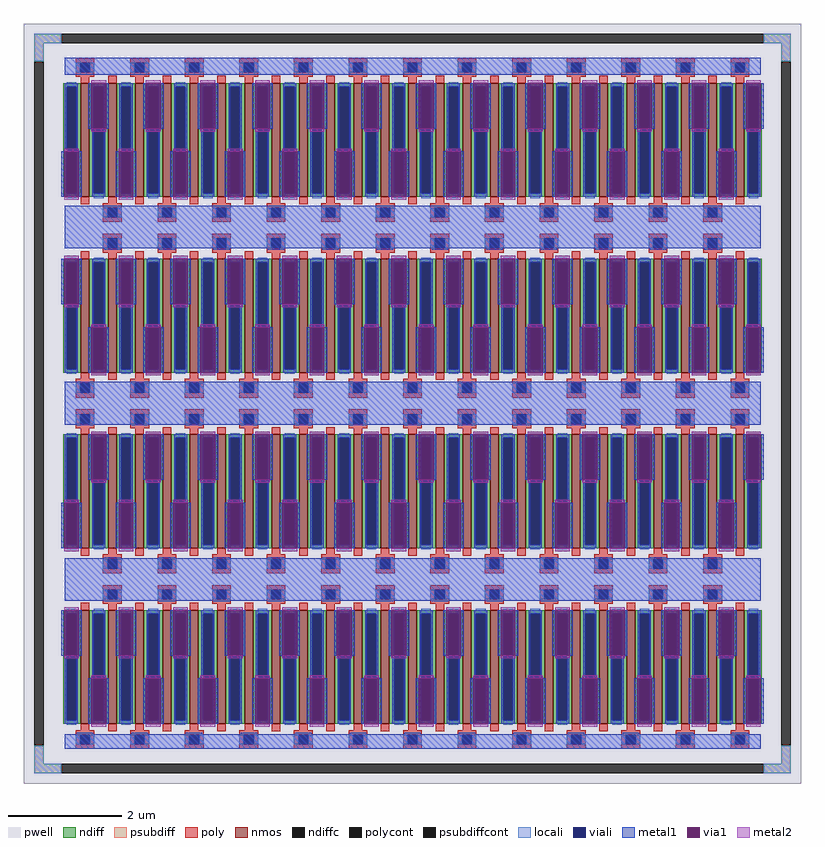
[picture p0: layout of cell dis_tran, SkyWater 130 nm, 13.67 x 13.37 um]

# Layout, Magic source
magic
tech sky130A
magscale 1 2
<< metal1 >>
rect 90 2440 2540 2500
rect 174 2251 184 2411
rect 236 2251 246 2411
rect 366 2251 376 2411
rect 428 2251 438 2411
rect 558 2251 568 2411
rect 620 2251 630 2411
rect 750 2251 760 2411
rect 812 2251 822 2411
rect 942 2251 952 2411
rect 1004 2251 1014 2411
rect 1134 2251 1144 2411
rect 1196 2251 1206 2411
rect 1326 2251 1336 2411
rect 1388 2251 1398 2411
rect 1518 2251 1528 2411
rect 1580 2251 1590 2411
rect 1710 2251 1720 2411
rect 1772 2251 1782 2411
rect 1902 2251 1912 2411
rect 1964 2251 1974 2411
rect 2094 2251 2104 2411
rect 2156 2251 2166 2411
rect 2286 2251 2296 2411
rect 2348 2251 2358 2411
rect 2478 2251 2488 2411
rect 2540 2251 2550 2411
rect 78 2011 88 2171
rect 140 2011 150 2171
rect 270 2011 280 2171
rect 332 2011 342 2171
rect 462 2011 472 2171
rect 524 2011 534 2171
rect 654 2011 664 2171
rect 716 2011 726 2171
rect 846 2011 856 2171
rect 908 2011 918 2171
rect 1038 2011 1048 2171
rect 1100 2011 1110 2171
rect 1230 2011 1240 2171
rect 1292 2011 1302 2171
rect 1422 2011 1432 2171
rect 1484 2011 1494 2171
rect 1614 2011 1624 2171
rect 1676 2011 1686 2171
rect 1806 2011 1816 2171
rect 1868 2011 1878 2171
rect 1998 2011 2008 2171
rect 2060 2011 2070 2171
rect 2190 2011 2200 2171
rect 2252 2011 2262 2171
rect 2382 2011 2392 2171
rect 2444 2011 2454 2171
rect 90 1830 2540 1980
rect 78 1633 88 1793
rect 140 1633 150 1793
rect 270 1633 280 1793
rect 332 1633 342 1793
rect 462 1633 472 1793
rect 524 1633 534 1793
rect 654 1633 664 1793
rect 716 1633 726 1793
rect 846 1633 856 1793
rect 908 1633 918 1793
rect 1038 1633 1048 1793
rect 1100 1633 1110 1793
rect 1230 1633 1240 1793
rect 1292 1633 1302 1793
rect 1422 1633 1432 1793
rect 1484 1633 1494 1793
rect 1614 1633 1624 1793
rect 1676 1633 1686 1793
rect 1806 1633 1816 1793
rect 1868 1633 1878 1793
rect 1998 1633 2008 1793
rect 2060 1633 2070 1793
rect 2190 1633 2200 1793
rect 2252 1633 2262 1793
rect 2382 1633 2392 1793
rect 2444 1633 2454 1793
rect 174 1393 184 1553
rect 236 1393 246 1553
rect 366 1393 376 1553
rect 428 1393 438 1553
rect 558 1393 568 1553
rect 620 1393 630 1553
rect 750 1393 760 1553
rect 812 1393 822 1553
rect 942 1393 952 1553
rect 1004 1393 1014 1553
rect 1134 1393 1144 1553
rect 1196 1393 1206 1553
rect 1326 1393 1336 1553
rect 1388 1393 1398 1553
rect 1518 1393 1528 1553
rect 1580 1393 1590 1553
rect 1710 1393 1720 1553
rect 1772 1393 1782 1553
rect 1902 1393 1912 1553
rect 1964 1393 1974 1553
rect 2094 1393 2104 1553
rect 2156 1393 2166 1553
rect 2286 1393 2296 1553
rect 2348 1393 2358 1553
rect 2478 1393 2488 1553
rect 2540 1393 2550 1553
rect 90 1210 2540 1360
rect 174 1015 184 1175
rect 236 1015 246 1175
rect 366 1015 376 1175
rect 428 1015 438 1175
rect 558 1015 568 1175
rect 620 1015 630 1175
rect 750 1015 760 1175
rect 812 1015 822 1175
rect 942 1015 952 1175
rect 1004 1015 1014 1175
rect 1134 1015 1144 1175
rect 1196 1015 1206 1175
rect 1326 1015 1336 1175
rect 1388 1015 1398 1175
rect 1518 1015 1528 1175
rect 1580 1015 1590 1175
rect 1710 1015 1720 1175
rect 1772 1015 1782 1175
rect 1902 1015 1912 1175
rect 1964 1015 1974 1175
rect 2094 1015 2104 1175
rect 2156 1015 2166 1175
rect 2286 1015 2296 1175
rect 2348 1015 2358 1175
rect 2478 1015 2488 1175
rect 2540 1015 2550 1175
rect 78 775 88 935
rect 140 775 150 935
rect 270 775 280 935
rect 332 775 342 935
rect 462 775 472 935
rect 524 775 534 935
rect 654 775 664 935
rect 716 775 726 935
rect 846 775 856 935
rect 908 775 918 935
rect 1038 775 1048 935
rect 1100 775 1110 935
rect 1230 775 1240 935
rect 1292 775 1302 935
rect 1422 775 1432 935
rect 1484 775 1494 935
rect 1614 775 1624 935
rect 1676 775 1686 935
rect 1806 775 1816 935
rect 1868 775 1878 935
rect 1998 775 2008 935
rect 2060 775 2070 935
rect 2190 775 2200 935
rect 2252 775 2262 935
rect 2382 775 2392 935
rect 2444 775 2454 935
rect 90 590 2540 740
rect 78 397 88 557
rect 140 397 150 557
rect 270 397 280 557
rect 332 397 342 557
rect 462 397 472 557
rect 524 397 534 557
rect 654 397 664 557
rect 716 397 726 557
rect 846 397 856 557
rect 908 397 918 557
rect 1038 397 1048 557
rect 1100 397 1110 557
rect 1230 397 1240 557
rect 1292 397 1302 557
rect 1422 397 1432 557
rect 1484 397 1494 557
rect 1614 397 1624 557
rect 1676 397 1686 557
rect 1806 397 1816 557
rect 1868 397 1878 557
rect 1998 397 2008 557
rect 2060 397 2070 557
rect 2190 397 2200 557
rect 2252 397 2262 557
rect 2382 397 2392 557
rect 2444 397 2454 557
rect 174 157 184 317
rect 236 157 246 317
rect 366 157 376 317
rect 428 157 438 317
rect 558 157 568 317
rect 620 157 630 317
rect 750 157 760 317
rect 812 157 822 317
rect 942 157 952 317
rect 1004 157 1014 317
rect 1134 157 1144 317
rect 1196 157 1206 317
rect 1326 157 1336 317
rect 1388 157 1398 317
rect 1518 157 1528 317
rect 1580 157 1590 317
rect 1710 157 1720 317
rect 1772 157 1782 317
rect 1902 157 1912 317
rect 1964 157 1974 317
rect 2094 157 2104 317
rect 2156 157 2166 317
rect 2286 157 2296 317
rect 2348 157 2358 317
rect 2478 157 2488 317
rect 2540 157 2550 317
rect 90 70 2540 120
<< via1 >>
rect 184 2251 236 2411
rect 376 2251 428 2411
rect 568 2251 620 2411
rect 760 2251 812 2411
rect 952 2251 1004 2411
rect 1144 2251 1196 2411
rect 1336 2251 1388 2411
rect 1528 2251 1580 2411
rect 1720 2251 1772 2411
rect 1912 2251 1964 2411
rect 2104 2251 2156 2411
rect 2296 2251 2348 2411
rect 2488 2251 2540 2411
rect 88 2011 140 2171
rect 280 2011 332 2171
rect 472 2011 524 2171
rect 664 2011 716 2171
rect 856 2011 908 2171
rect 1048 2011 1100 2171
rect 1240 2011 1292 2171
rect 1432 2011 1484 2171
rect 1624 2011 1676 2171
rect 1816 2011 1868 2171
rect 2008 2011 2060 2171
rect 2200 2011 2252 2171
rect 2392 2011 2444 2171
rect 88 1633 140 1793
rect 280 1633 332 1793
rect 472 1633 524 1793
rect 664 1633 716 1793
rect 856 1633 908 1793
rect 1048 1633 1100 1793
rect 1240 1633 1292 1793
rect 1432 1633 1484 1793
rect 1624 1633 1676 1793
rect 1816 1633 1868 1793
rect 2008 1633 2060 1793
rect 2200 1633 2252 1793
rect 2392 1633 2444 1793
rect 184 1393 236 1553
rect 376 1393 428 1553
rect 568 1393 620 1553
rect 760 1393 812 1553
rect 952 1393 1004 1553
rect 1144 1393 1196 1553
rect 1336 1393 1388 1553
rect 1528 1393 1580 1553
rect 1720 1393 1772 1553
rect 1912 1393 1964 1553
rect 2104 1393 2156 1553
rect 2296 1393 2348 1553
rect 2488 1393 2540 1553
rect 184 1015 236 1175
rect 376 1015 428 1175
rect 568 1015 620 1175
rect 760 1015 812 1175
rect 952 1015 1004 1175
rect 1144 1015 1196 1175
rect 1336 1015 1388 1175
rect 1528 1015 1580 1175
rect 1720 1015 1772 1175
rect 1912 1015 1964 1175
rect 2104 1015 2156 1175
rect 2296 1015 2348 1175
rect 2488 1015 2540 1175
rect 88 775 140 935
rect 280 775 332 935
rect 472 775 524 935
rect 664 775 716 935
rect 856 775 908 935
rect 1048 775 1100 935
rect 1240 775 1292 935
rect 1432 775 1484 935
rect 1624 775 1676 935
rect 1816 775 1868 935
rect 2008 775 2060 935
rect 2200 775 2252 935
rect 2392 775 2444 935
rect 88 397 140 557
rect 280 397 332 557
rect 472 397 524 557
rect 664 397 716 557
rect 856 397 908 557
rect 1048 397 1100 557
rect 1240 397 1292 557
rect 1432 397 1484 557
rect 1624 397 1676 557
rect 1816 397 1868 557
rect 2008 397 2060 557
rect 2200 397 2252 557
rect 2392 397 2444 557
rect 184 157 236 317
rect 376 157 428 317
rect 568 157 620 317
rect 760 157 812 317
rect 952 157 1004 317
rect 1144 157 1196 317
rect 1336 157 1388 317
rect 1528 157 1580 317
rect 1720 157 1772 317
rect 1912 157 1964 317
rect 2104 157 2156 317
rect 2296 157 2348 317
rect 2488 157 2540 317
<< metal2 >>
rect 184 2411 236 2421
rect 184 2241 236 2251
rect 376 2411 428 2421
rect 376 2241 428 2251
rect 568 2411 620 2421
rect 568 2241 620 2251
rect 760 2411 812 2421
rect 760 2241 812 2251
rect 952 2411 1004 2421
rect 952 2241 1004 2251
rect 1144 2411 1196 2421
rect 1144 2241 1196 2251
rect 1336 2411 1388 2421
rect 1336 2241 1388 2251
rect 1528 2411 1580 2421
rect 1528 2241 1580 2251
rect 1720 2411 1772 2421
rect 1720 2241 1772 2251
rect 1912 2411 1964 2421
rect 1912 2241 1964 2251
rect 2104 2411 2156 2421
rect 2104 2241 2156 2251
rect 2296 2411 2348 2421
rect 2296 2241 2348 2251
rect 2488 2411 2540 2421
rect 2488 2241 2540 2251
rect 88 2171 140 2181
rect 88 2001 140 2011
rect 280 2171 332 2181
rect 280 2001 332 2011
rect 472 2171 524 2181
rect 472 2001 524 2011
rect 664 2171 716 2181
rect 664 2001 716 2011
rect 856 2171 908 2181
rect 856 2001 908 2011
rect 1048 2171 1100 2181
rect 1048 2001 1100 2011
rect 1240 2171 1292 2181
rect 1240 2001 1292 2011
rect 1432 2171 1484 2181
rect 1432 2001 1484 2011
rect 1624 2171 1676 2181
rect 1624 2001 1676 2011
rect 1816 2171 1868 2181
rect 1816 2001 1868 2011
rect 2008 2171 2060 2181
rect 2008 2001 2060 2011
rect 2200 2171 2252 2181
rect 2200 2001 2252 2011
rect 2392 2171 2444 2181
rect 2392 2001 2444 2011
rect 88 1793 140 1803
rect 88 1623 140 1633
rect 280 1793 332 1803
rect 280 1623 332 1633
rect 472 1793 524 1803
rect 472 1623 524 1633
rect 664 1793 716 1803
rect 664 1623 716 1633
rect 856 1793 908 1803
rect 856 1623 908 1633
rect 1048 1793 1100 1803
rect 1048 1623 1100 1633
rect 1240 1793 1292 1803
rect 1240 1623 1292 1633
rect 1432 1793 1484 1803
rect 1432 1623 1484 1633
rect 1624 1793 1676 1803
rect 1624 1623 1676 1633
rect 1816 1793 1868 1803
rect 1816 1623 1868 1633
rect 2008 1793 2060 1803
rect 2008 1623 2060 1633
rect 2200 1793 2252 1803
rect 2200 1623 2252 1633
rect 2392 1793 2444 1803
rect 2392 1623 2444 1633
rect 184 1553 236 1563
rect 184 1383 236 1393
rect 376 1553 428 1563
rect 376 1383 428 1393
rect 568 1553 620 1563
rect 568 1383 620 1393
rect 760 1553 812 1563
rect 760 1383 812 1393
rect 952 1553 1004 1563
rect 952 1383 1004 1393
rect 1144 1553 1196 1563
rect 1144 1383 1196 1393
rect 1336 1553 1388 1563
rect 1336 1383 1388 1393
rect 1528 1553 1580 1563
rect 1528 1383 1580 1393
rect 1720 1553 1772 1563
rect 1720 1383 1772 1393
rect 1912 1553 1964 1563
rect 1912 1383 1964 1393
rect 2104 1553 2156 1563
rect 2104 1383 2156 1393
rect 2296 1553 2348 1563
rect 2296 1383 2348 1393
rect 2488 1553 2540 1563
rect 2488 1383 2540 1393
rect 184 1175 236 1185
rect 184 1005 236 1015
rect 376 1175 428 1185
rect 376 1005 428 1015
rect 568 1175 620 1185
rect 568 1005 620 1015
rect 760 1175 812 1185
rect 760 1005 812 1015
rect 952 1175 1004 1185
rect 952 1005 1004 1015
rect 1144 1175 1196 1185
rect 1144 1005 1196 1015
rect 1336 1175 1388 1185
rect 1336 1005 1388 1015
rect 1528 1175 1580 1185
rect 1528 1005 1580 1015
rect 1720 1175 1772 1185
rect 1720 1005 1772 1015
rect 1912 1175 1964 1185
rect 1912 1005 1964 1015
rect 2104 1175 2156 1185
rect 2104 1005 2156 1015
rect 2296 1175 2348 1185
rect 2296 1005 2348 1015
rect 2488 1175 2540 1185
rect 2488 1005 2540 1015
rect 88 935 140 945
rect 88 765 140 775
rect 280 935 332 945
rect 280 765 332 775
rect 472 935 524 945
rect 472 765 524 775
rect 664 935 716 945
rect 664 765 716 775
rect 856 935 908 945
rect 856 765 908 775
rect 1048 935 1100 945
rect 1048 765 1100 775
rect 1240 935 1292 945
rect 1240 765 1292 775
rect 1432 935 1484 945
rect 1432 765 1484 775
rect 1624 935 1676 945
rect 1624 765 1676 775
rect 1816 935 1868 945
rect 1816 765 1868 775
rect 2008 935 2060 945
rect 2008 765 2060 775
rect 2200 935 2252 945
rect 2200 765 2252 775
rect 2392 935 2444 945
rect 2392 765 2444 775
rect 88 557 140 567
rect 88 387 140 397
rect 280 557 332 567
rect 280 387 332 397
rect 472 557 524 567
rect 472 387 524 397
rect 664 557 716 567
rect 664 387 716 397
rect 856 557 908 567
rect 856 387 908 397
rect 1048 557 1100 567
rect 1048 387 1100 397
rect 1240 557 1292 567
rect 1240 387 1292 397
rect 1432 557 1484 567
rect 1432 387 1484 397
rect 1624 557 1676 567
rect 1624 387 1676 397
rect 1816 557 1868 567
rect 1816 387 1868 397
rect 2008 557 2060 567
rect 2008 387 2060 397
rect 2200 557 2252 567
rect 2200 387 2252 397
rect 2392 557 2444 567
rect 2392 387 2444 397
rect 184 317 236 327
rect 184 147 236 157
rect 376 317 428 327
rect 376 147 428 157
rect 568 317 620 327
rect 568 147 620 157
rect 760 317 812 327
rect 760 147 812 157
rect 952 317 1004 327
rect 952 147 1004 157
rect 1144 317 1196 327
rect 1144 147 1196 157
rect 1336 317 1388 327
rect 1336 147 1388 157
rect 1528 317 1580 327
rect 1528 147 1580 157
rect 1720 317 1772 327
rect 1720 147 1772 157
rect 1912 317 1964 327
rect 1912 147 1964 157
rect 2104 317 2156 327
rect 2104 147 2156 157
rect 2296 317 2348 327
rect 2296 147 2348 157
rect 2488 317 2540 327
rect 2488 147 2540 157
use sky130_fd_pr__nfet_01v8_RRWALQ  sky130_fd_pr__nfet_01v8_RRWALQ_0
transform 1 0 1314 0 1 1284
box -1367 -1337 1367 1337
<< end >>

# cell sky130_fd_pr__nfet_01v8_RRWALQ: kit device sky130_fd_pr__nfet_01v8, w 2 l 0.150 m 4 nf 25 diffcov 100 polycov 100 guard 1 glc 1 grc 1 gtc 1 gbc 1 tbcov 100 rlcov 100 topc 1 botc 1 poverlap 0 doverlap 1 lmin 0.15 wmin 0.42 compatible {sky130_fd_pr__nfet_01v8 sky130_fd_pr__nfet_01v8_lvt sky130_fd_bs_flash__special_sonosfet_star sky130_fd_pr__nfet_g5v0d10v5 sky130_fd_pr__nfet_05v0_nvt sky130_fd_pr__nfet_03v3_nvt} full_metal 1 viasrc 100 viadrn 100 viagate 100 viagb 0 viagr 0 viagl 0 viagt 0
